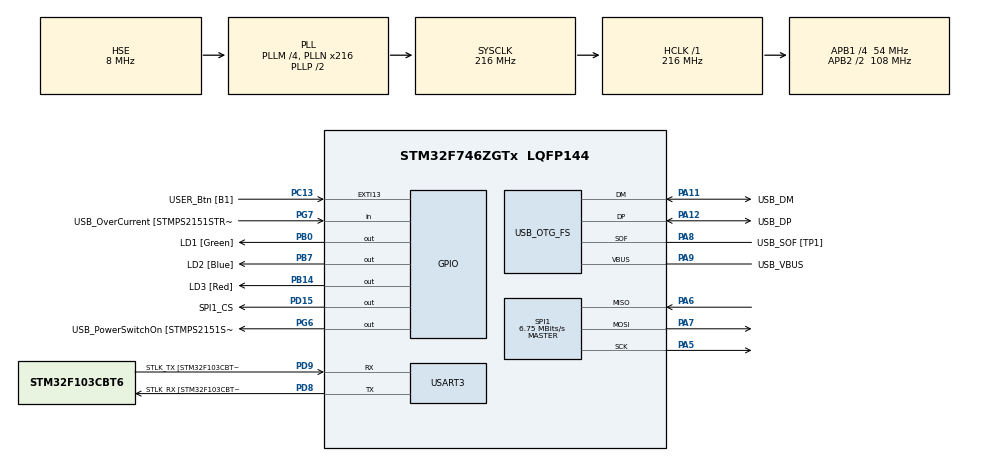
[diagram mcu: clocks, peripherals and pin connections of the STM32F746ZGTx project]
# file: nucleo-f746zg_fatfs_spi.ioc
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FATFS._MAX_SS=4096
FATFS._USE_LFN=1
Mcu.Family=STM32F7
Mcu.Name=STM32F746ZGTx
Mcu.Package=LQFP144
NVIC.PriorityGroup=NVIC_PRIORITYGROUP_4
PA10.GPIO_Label=USB_ID
PA10.Signal=USB_OTG_FS_ID
PA11.GPIO_Label=USB_DM
PA11.Mode=Device_Only
PA11.Signal=USB_OTG_FS_DM
PA12.GPIO_Label=USB_DP
PA12.Mode=Device_Only
PA12.Signal=USB_OTG_FS_DP
PA13.GPIO_Label=TMS
PA13.Mode=Trace_Asynchronous_SW
PA13.Signal=SYS_JTMS-SWDIO
PA14.GPIO_Label=TCK
PA14.Mode=Trace_Asynchronous_SW
PA14.Signal=SYS_JTCK-SWCLK
PA5.Mode=Full_Duplex_Master
PA5.Signal=SPI1_SCK
PA6.Mode=Full_Duplex_Master
PA6.Signal=SPI1_MISO
PA7.Mode=Full_Duplex_Master
PA7.Signal=SPI1_MOSI
PA8.GPIO_Label=USB_SOF [TP1]
PA8.Mode=Activate_SOF_FS
PA8.Signal=USB_OTG_FS_SOF
PA9.GPIO_Label=USB_VBUS
PA9.Mode=Activate_VBUS
PA9.Signal=USB_OTG_FS_VBUS
PB0.GPIO_Label=LD1 [Green]
PB0.GPIO_Speed=GPIO_SPEED_FREQ_VERY_HIGH
PB0.Signal=GPIO_Output
PB14.GPIO_Label=LD3 [Red]
PB14.GPIO_Speed=GPIO_SPEED_FREQ_VERY_HIGH
PB14.Signal=GPIO_Output
PB3.GPIO_Label=SW0
PB3.Mode=Trace_Asynchronous_SW
PB3.Signal=SYS_JTDO-SWO
PB7.GPIO_Label=LD2 [Blue]
PB7.GPIO_Speed=GPIO_SPEED_FREQ_VERY_HIGH
PB7.Signal=GPIO_Output
PC13.GPIO_Label=USER_Btn [B1]
PC13.Signal=GPXTI13
PC14/OSC32_IN.Mode=LSE-External-Oscillator
PC14/OSC32_IN.Signal=RCC_OSC32_IN
PC15/OSC32_OUT.Mode=LSE-External-Oscillator
PC15/OSC32_OUT.Signal=RCC_OSC32_OUT
PD15.GPIO_Label=SPI1_CS
PD15.GPIO_Speed=GPIO_SPEED_FREQ_VERY_HIGH
PD15.PinState=GPIO_PIN_SET
PD15.Signal=GPIO_Output
PD8.GPIO_Label=STLK_RX [STM32F103CBT6_PA3]
PD8.Mode=Asynchronous
PD8.Signal=USART3_TX
PD9.GPIO_Label=STLK_TX [STM32F103CBT6_PA2]
PD9.Mode=Asynchronous
PD9.Signal=USART3_RX
PG6.GPIO_Label=USB_PowerSwitchOn [STMPS2151STR_EN]
PG6.GPIO_Speed=GPIO_SPEED_FREQ_VERY_HIGH
PG6.Signal=GPIO_Output
PG7.GPIO_Label=USB_OverCurrent [STMPS2151STR_FAULT]
PG7.Signal=GPIO_Input
PH0/OSC_IN.GPIO_Label=MCO [STM32F103CBT6_PA8]
PH0/OSC_IN.Mode=HSE-External-Clock-Source
PH0/OSC_IN.Signal=RCC_OSC_IN
PH1/OSC_OUT.Mode=HSE-External-Clock-Source
PH1/OSC_OUT.Signal=RCC_OSC_OUT
ProjectManager.HeapSize=0x2000
ProjectManager.StackSize=0x4000
ProjectManager.TargetToolchain=STM32CubeIDE
RCC.48MHZClocksFreq_Value=24000000
RCC.AHBFreq_Value=216000000
RCC.APB1CLKDivider=RCC_HCLK_DIV4
RCC.APB1Freq_Value=54000000
RCC.APB1TimFreq_Value=108000000
RCC.APB2CLKDivider=RCC_HCLK_DIV2
RCC.APB2Freq_Value=108000000
RCC.APB2TimFreq_Value=216000000
RCC.CortexFreq_Value=216000000
RCC.HCLKFreq_Value=216000000
RCC.HSE_VALUE=8000000
RCC.HSI_VALUE=16000000
RCC.PLLM=4
RCC.PLLMUL=RCC_PLL_MUL9
RCC.PLLN=216
RCC.PLLQ=9
RCC.PRESCALERUSB=RCC_USBCLKSOURCE_PLL_DIV1_5
RCC.SYSCLKFreq_VALUE=216000000
RCC.SYSCLKSource=RCC_SYSCLKSOURCE_PLLCLK
RCC.SYSCLKSourceVirtual=RCC_SYSCLKSOURCE_PLLCLK
RCC.USBFreq_Value=48000000
RCC.VCOOutputFreq_Value=432000000
SPI1.BaudRatePrescaler=SPI_BAUDRATEPRESCALER_16
SPI1.CalculateBaudRate=6.75 MBits/s
SPI1.DataSize=SPI_DATASIZE_8BIT
SPI1.Direction=SPI_DIRECTION_2LINES
SPI1.Mode=SPI_MODE_MASTER
SPI1.VirtualType=VM_MASTER
USART3.VirtualMode-Asynchronous=VM_ASYNC
USB_OTG_FS.VirtualMode=Device_Only
VP_FATFS_VS_Generic.Mode=User_defined
board=NUCLEO-F746ZG

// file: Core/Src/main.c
/* USER CODE BEGIN Header */
/**
  ******************************************************************************
  * @file           : main.c
  * @brief          : Main program body
  ******************************************************************************
  * @attention
  *
  * <h2><center>&copy; Copyright (c) 2021 STMicroelectronics.
  * All rights reserved.</center></h2>
  *
  * This software component is licensed by ST under BSD 3-Clause license,
  * the "License"; You may not use this file except in compliance with the
  * License. You may obtain a copy of the License at:
  *                        opensource.org/licenses/BSD-3-Clause
  *
  ******************************************************************************
  */
/* USER CODE END Header */
#include "main.h"
#include "fatfs.h"
#include "spi.h"
#include "usart.h"
#include "usb_otg.h"
#include "gpio.h"

/* USER CODE BEGIN Includes */
#include "stdio.h"
/* USER CODE END Includes */

/* USER CODE BEGIN PV */
FATFS fs;
FATFS *pfs;
FIL fil;
FRESULT fres;
DWORD fre_clust;
uint32_t totalSpace, freeSpace;
char buffer[100];
/* USER CODE END PV */

void SystemClock_Config(void);

int main(void)
{

  /* MCU Configuration--------------------------------------------------------*/

  /* Reset of all peripherals, Initializes the Flash interface and the Systick. */
  HAL_Init();

  /* Configure the system clock */
  SystemClock_Config();

  /* Initialize all configured peripherals */
  MX_GPIO_Init();
  MX_USART3_UART_Init();
  MX_USB_OTG_FS_PCD_Init();
  MX_SPI1_Init();
  MX_FATFS_Init();
  /* USER CODE BEGIN 2 */

  /* Wait for SD module reset */
  HAL_Delay(500);

  /* Mount SD Card */
  if(f_mount(&fs, "", 1) != FR_OK)
    Error_Handler();

  /* Open file to write */
  if(f_open(&fil, "first.txt", FA_OPEN_ALWAYS | FA_READ | FA_WRITE) != FR_OK)
    Error_Handler();

  /* Check freeSpace space */
  if(f_getfree("", &fre_clust, &pfs) != FR_OK)
    Error_Handler();

  totalSpace = (uint32_t)((pfs->n_fatent - 2) * pfs->csize * 0.5);
  freeSpace = (uint32_t)(fre_clust * pfs->csize * 0.5);

  /* free space is less than 1kb */
  if(freeSpace < 1)
    Error_Handler();

  /* Writing text */
  f_puts("STM32 SD Card I/O Example via SPI\n", &fil);
  f_puts("Save the world!!!", &fil);

  /* Close file */
  if(f_close(&fil) != FR_OK)
    Error_Handler();

  /* Open file to read */
  if(f_open(&fil, "first.txt", FA_READ) != FR_OK)
    Error_Handler();

  while(f_gets(buffer, sizeof(buffer), &fil))
  {
    /* SWV output */
    printf("%s", buffer);
  }

  /* Close file */
  if(f_close(&fil) != FR_OK)
    Error_Handler();

  /* Unmount SDCARD */
  if(f_mount(NULL, "", 1) != FR_OK)
    Error_Handler();

  /* USER CODE END 2 */

  /* Infinite loop */
  while (1)
  {

  }
}

void SystemClock_Config(void)
{
  RCC_OscInitTypeDef RCC_OscInitStruct = {0};
  RCC_ClkInitTypeDef RCC_ClkInitStruct = {0};

  /** Configure LSE Drive Capability
  */
  HAL_PWR_EnableBkUpAccess();

  /** Configure the main internal regulator output voltage
  */
  __HAL_RCC_PWR_CLK_ENABLE();
  __HAL_PWR_VOLTAGESCALING_CONFIG(PWR_REGULATOR_VOLTAGE_SCALE1);

  /** Initializes the RCC Oscillators according to the specified parameters
  * in the RCC_OscInitTypeDef structure.
  */
  RCC_OscInitStruct.OscillatorType = RCC_OSCILLATORTYPE_HSE;
  RCC_OscInitStruct.HSEState = RCC_HSE_BYPASS;
  RCC_OscInitStruct.PLL.PLLState = RCC_PLL_ON;
  RCC_OscInitStruct.PLL.PLLSource = RCC_PLLSOURCE_HSE;
  RCC_OscInitStruct.PLL.PLLM = 4;
  RCC_OscInitStruct.PLL.PLLN = 216;
  RCC_OscInitStruct.PLL.PLLP = RCC_PLLP_DIV2;
  RCC_OscInitStruct.PLL.PLLQ = 9;
  if (HAL_RCC_OscConfig(&RCC_OscInitStruct) != HAL_OK)
  {
    Error_Handler();
  }

  /** Activate the Over-Drive mode
  */
  if (HAL_PWREx_EnableOverDrive() != HAL_OK)
  {
    Error_Handler();
  }

  /** Initializes the CPU, AHB and APB buses clocks
  */
  RCC_ClkInitStruct.ClockType = RCC_CLOCKTYPE_HCLK|RCC_CLOCKTYPE_SYSCLK
                              |RCC_CLOCKTYPE_PCLK1|RCC_CLOCKTYPE_PCLK2;
  RCC_ClkInitStruct.SYSCLKSource = RCC_SYSCLKSOURCE_PLLCLK;
  RCC_ClkInitStruct.AHBCLKDivider = RCC_SYSCLK_DIV1;
  RCC_ClkInitStruct.APB1CLKDivider = RCC_HCLK_DIV4;
  RCC_ClkInitStruct.APB2CLKDivider = RCC_HCLK_DIV2;

  if (HAL_RCC_ClockConfig(&RCC_ClkInitStruct, FLASH_LATENCY_7) != HAL_OK)
  {
    Error_Handler();
  }
}

void Error_Handler(void)
{
  __disable_irq();
  while (1)
  {
  }
}
